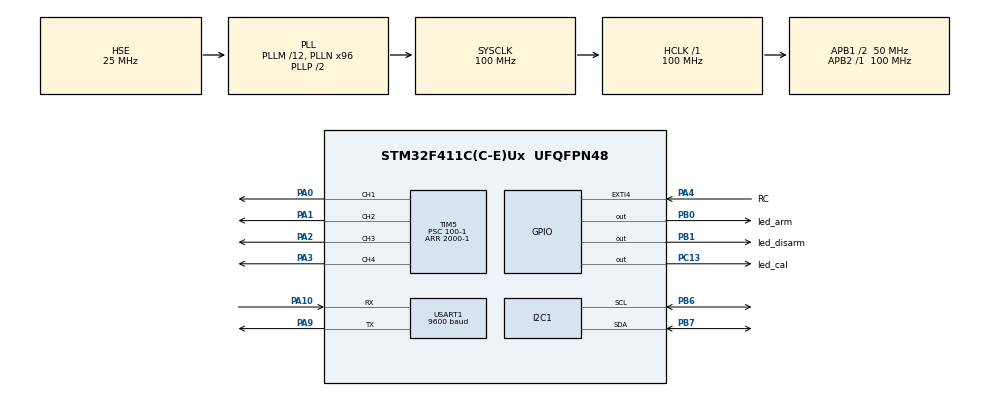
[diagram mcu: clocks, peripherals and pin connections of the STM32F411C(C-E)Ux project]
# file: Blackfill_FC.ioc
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Dma.Request0=USART1_RX
Dma.USART1_RX.0.Direction=DMA_PERIPH_TO_MEMORY
Dma.USART1_RX.0.FIFOMode=DMA_FIFOMODE_DISABLE
Dma.USART1_RX.0.Instance=DMA2_Stream2
Dma.USART1_RX.0.MemDataAlignment=DMA_MDATAALIGN_BYTE
Dma.USART1_RX.0.MemInc=DMA_MINC_ENABLE
Dma.USART1_RX.0.Mode=DMA_CIRCULAR
Dma.USART1_RX.0.PeriphDataAlignment=DMA_PDATAALIGN_BYTE
Dma.USART1_RX.0.PeriphInc=DMA_PINC_DISABLE
Dma.USART1_RX.0.Priority=DMA_PRIORITY_LOW
I2C1.I2C_Mode=I2C_Fast
Mcu.Family=STM32F4
Mcu.Name=STM32F411C(C-E)Ux
Mcu.Package=UFQFPN48
NVIC.DMA2_Stream2_IRQn=true\:0\:0\:false\:false\:true\:false\:true\:true
NVIC.EXTI4_IRQn=true\:0\:0\:false\:false\:true\:true\:true\:true
NVIC.PriorityGroup=NVIC_PRIORITYGROUP_4
NVIC.TIM1_TRG_COM_TIM11_IRQn=true\:0\:0\:false\:false\:true\:true\:true\:true
NVIC.USART1_IRQn=true\:0\:0\:false\:false\:true\:true\:true\:true
PA0-WKUP.Signal=S_TIM5_CH1
PA1.Signal=S_TIM5_CH2
PA10.Mode=Asynchronous
PA10.Signal=USART1_RX
PA13.Mode=Serial_Wire
PA13.Signal=SYS_JTMS-SWDIO
PA14.Mode=Serial_Wire
PA14.Signal=SYS_JTCK-SWCLK
PA2.Signal=S_TIM5_CH3
PA3.Signal=S_TIM5_CH4
PA4.GPIO_Label=RC
PA4.Signal=GPXTI4
PA9.Mode=Asynchronous
PA9.Signal=USART1_TX
PB0.GPIO_Label=led_arm
PB0.Signal=GPIO_Output
PB1.GPIO_Label=led_disarm
PB1.Signal=GPIO_Output
PB6.Mode=I2C
PB6.Signal=I2C1_SCL
PB7.Mode=I2C
PB7.Signal=I2C1_SDA
PC13-ANTI_TAMP.GPIO_Label=led_cal
PC13-ANTI_TAMP.Signal=GPIO_Output
PH0\ -\ OSC_IN.Mode=HSE-External-Oscillator
PH0\ -\ OSC_IN.Signal=RCC_OSC_IN
PH1\ -\ OSC_OUT.Mode=HSE-External-Oscillator
PH1\ -\ OSC_OUT.Signal=RCC_OSC_OUT
ProjectManager.HeapSize=0x200
ProjectManager.StackSize=0x400
ProjectManager.TargetToolchain=STM32CubeIDE
RCC.48MHZClocksFreq_Value=50000000
RCC.AHBFreq_Value=100000000
RCC.APB1CLKDivider=RCC_HCLK_DIV2
RCC.APB1Freq_Value=50000000
RCC.APB1TimFreq_Value=100000000
RCC.APB2Freq_Value=100000000
RCC.APB2TimFreq_Value=100000000
RCC.CortexFreq_Value=100000000
RCC.HCLKFreq_Value=100000000
RCC.HSE_VALUE=25000000
RCC.HSI_VALUE=16000000
RCC.LSE_VALUE=32768
RCC.PLLM=12
RCC.PLLN=96
RCC.PLLSourceVirtual=RCC_PLLSOURCE_HSE
RCC.SYSCLKFreq_VALUE=100000000
RCC.SYSCLKSource=RCC_SYSCLKSOURCE_PLLCLK
RCC.VCOOutputFreq_Value=200000000
SH.S_TIM5_CH1.0=TIM5_CH1,PWM Generation1 CH1
SH.S_TIM5_CH2.0=TIM5_CH2,PWM Generation2 CH2
SH.S_TIM5_CH3.0=TIM5_CH3,PWM Generation3 CH3
SH.S_TIM5_CH4.0=TIM5_CH4,PWM Generation4 CH4
TIM10.Period=0xffff
TIM10.Prescaler=100-1
TIM11.Period=0xffff
TIM11.Prescaler=100-1
TIM5.Channel-PWM\ Generation1\ CH1=TIM_CHANNEL_1
TIM5.Channel-PWM\ Generation2\ CH2=TIM_CHANNEL_2
TIM5.Channel-PWM\ Generation3\ CH3=TIM_CHANNEL_3
TIM5.Channel-PWM\ Generation4\ CH4=TIM_CHANNEL_4
TIM5.Period=2000-1
TIM5.Prescaler=100-1
USART1.BaudRate=9600
USART1.VirtualMode=VM_ASYNC
VP_TIM10_VS_ClockSourceINT.Mode=Enable_Timer
VP_TIM11_VS_ClockSourceINT.Mode=Enable_Timer
VP_TIM5_VS_ClockSourceINT.Mode=Internal
board=custom

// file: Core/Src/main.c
/* USER CODE BEGIN Header */
/**
  ******************************************************************************
  * @file           : main.c
  * @brief          : Main program body
  ******************************cccc************************************************
  * @attention
  *
  * Copyright (c) 2023 STMicroelectronics.
  * All rights reserved.
  *
  * This software is licensed under terms that can be found in the LICENSE file
  * in the root directory of this software component.
  * If no LICENSE file comes with this software, it is provided AS-IS.
  *
  ******************************************************************************
  */
/* USER CODE END Header */
#include "main.h"

/* USER CODE BEGIN Includes */
#include "mpu6050.h"
//#include "bmp280.h"
//#include "HMC5883L.h"
#include "stdbool.h"
#include "math.h"
#include "stdlib.h"
#include "stdio.h"
#include "string.h"
/* USER CODE END Includes */

I2C_HandleTypeDef hi2c1;

TIM_HandleTypeDef htim5;
TIM_HandleTypeDef htim10;
TIM_HandleTypeDef htim11;

UART_HandleTypeDef huart1;
DMA_HandleTypeDef hdma_usart1_rx;

/* USER CODE BEGIN PV */

//BMP280_HandleTypedef bmp280;
/*
float pressure, temperature, humidity, altitude_sea, altitude, altitude_cal;
int32_t pressure_rotating_mem[50], pressure_total_avarage;
uint8_t pressure_rotating_mem_location;
float pressure_rotating_mem_actual;
float actual_pressure, actual_pressure_slow, actual_pressure_fast, actual_pressure_diff;
*/

volatile long ch[8];
volatile long tick;
volatile uint8_t pulse;

int receiver_input_channel_1;
int receiver_input_channel_2;
int receiver_input_channel_3;
int receiver_input_channel_4;
int receiver_input_channel_5;
int receiver_input_channel_6;

int throttle;

float pid_roll_setpoint;
float pid_pitch_setpoint;
float pid_yaw_setpoint;

float pid_p_gain_roll		= 0.4;			//0.4
float pid_i_gain_roll		= 0.0015;			//0.0015
float pid_d_gain_roll		= 0.7;			//0.7

float pid_p_gain_pitch		= 0.4;			//0.4
float pid_i_gain_pitch		= 0.0015;			//0.0015
float pid_d_gain_pitch		= 0.7;			//0.7

float pid_p_gain_yaw		= 2;
float pid_i_gain_yaw		= 0.02;
float pid_d_gain_yaw		= 0;

float pid_i_mem_roll;
float pid_i_mem_pitch;
float pid_i_mem_yaw;

float pid_last_roll_d_error;
float pid_last_pitch_d_eroor;
float pid_last_yaw_d_error;

float pid_error_temp;

float pid_roll_output;
float pid_pitch_output;
float pid_yaw_output;

int pid_max_roll			= 400;
int pid_max_pitch			= 400;
int pid_max_yaw				= 400;

int esc_1 = 1000;
int esc_2= 1000;
int esc_3= 1000;
int esc_4= 1000;

int arm;

int min_throthle = 1070;
int max_throthle = 2000;
int disable_motor = 1000;

int loop_time;

float turning_speed = 3.0;
bool auto_level = true;

/* USER CODE END PV */

void SystemClock_Config(void);
static void MX_GPIO_Init(void);
static void MX_DMA_Init(void);
static void MX_I2C1_Init(void);
static void MX_USART1_UART_Init(void);
static void MX_TIM5_Init(void);
static void MX_TIM11_Init(void);
static void MX_TIM10_Init(void);

int main(void)
{

  /* MCU Configuration--------------------------------------------------------*/

  /* Reset of all peripherals, Initializes the Flash interface and the Systick. */
  HAL_Init();

  /* Configure the system clock */
  SystemClock_Config();

  /* Initialize all configured peripherals */
  MX_GPIO_Init();
  MX_DMA_Init();
  MX_I2C1_Init();
  MX_USART1_UART_Init();
  MX_TIM5_Init();
  MX_TIM11_Init();
  MX_TIM10_Init();
  /* USER CODE BEGIN 2 */
  HAL_Delay(100);
  HAL_TIM_Base_Start(&htim11);
  HAL_TIM_Base_Start(&htim10);

  HAL_TIM_PWM_Start(&htim5, TIM_CHANNEL_1);
  HAL_TIM_PWM_Start(&htim5, TIM_CHANNEL_2);
  HAL_TIM_PWM_Start(&htim5, TIM_CHANNEL_3);
  HAL_TIM_PWM_Start(&htim5, TIM_CHANNEL_4);
  HAL_Delay(100);

  __HAL_TIM_SET_COMPARE(&htim5,TIM_CHANNEL_1,0);
  __HAL_TIM_SET_COMPARE(&htim5,TIM_CHANNEL_2,0);
  __HAL_TIM_SET_COMPARE(&htim5,TIM_CHANNEL_3,0);
  __HAL_TIM_SET_COMPARE(&htim5,TIM_CHANNEL_4,0);

  HAL_Delay(100);
/*
  HMC5883L_setRange (HMC5883L_RANGE_1_3GA);
  HMC5883L_setMeasurementMode (HMC5883L_CONTINOUS);
  HMC5883L_setDataRate (HMC5883L_DATARATE_15HZ);
  HMC5883L_setSamples (HMC5883L_SAMPLES_1);
  HMC5883L_setOffset (0, 0);

  bmp280_init_default_params(&bmp280.params);
  bmp280.addr = BMP280_I2C_ADDRESS_0;
  bmp280.i2c = &hi2c1;
  bmp280_init(&bmp280, &bmp280.params);
*/
  MPU6050_Init();
  HAL_Delay(1000);
  mpu6050_cal();
  HAL_Delay(1000);
  loop_time = __HAL_TIM_GET_COUNTER(&htim10);
  /* USER CODE END 2 */

  /* Infinite loop */
  while (1)
  {

    /* USER CODE BEGIN 3 */
	  //__HAL_TIM_SET_COUNTER(&htim10,0);

	  receiver_input_channel_1 = ch[0];
	  receiver_input_channel_2 = ch[1];
	  receiver_input_channel_3 = ch[2];
	  receiver_input_channel_4 = ch[3];
	  receiver_input_channel_5 = ch[4];
	  receiver_input_channel_6 = ch[5];

	  get_angles();

	  if ( receiver_input_channel_6 > 1550 ){
		  arm = 2;
		  HAL_GPIO_WritePin(led_arm_GPIO_Port, led_arm_Pin, 1);
		  HAL_GPIO_WritePin(led_disarm_GPIO_Port, led_disarm_Pin, 0);

		  pid_i_mem_roll = 0;
		  pid_last_roll_d_error = 0;
		  pid_i_mem_pitch = 0;
		  pid_last_pitch_d_eroor = 0;
		  pid_i_mem_yaw = 0;
		  pid_last_yaw_d_error = 0;
	  }

	  if ( arm == 2 && receiver_input_channel_6 < 1450){
		  arm =0;
		  HAL_GPIO_WritePin(led_arm_GPIO_Port, led_arm_Pin, 0);
		  HAL_GPIO_WritePin(led_disarm_GPIO_Port, led_disarm_Pin, 1);
	  }

	  pid_roll_setpoint =0;
	  if ( receiver_input_channel_1 > 1508 ) {
		  pid_roll_setpoint = (receiver_input_channel_1 - 1508);
	  }
	  else if ( receiver_input_channel_1  < 1492 ){
		  pid_roll_setpoint = ( receiver_input_channel_1  - 1492 );
	  }
	  else{
		  receiver_input_channel_1 = 1500;
	  }

	  pid_roll_setpoint -= roll_level_adjust;
	  pid_roll_setpoint /= turning_speed;

	  pid_pitch_setpoint =0;
	  if ( receiver_input_channel_2 > 1508 ) {
		  pid_pitch_setpoint = ( receiver_input_channel_2 - 1508 );
	  }
	  else if ( receiver_input_channel_2 < 1492 ) {
		  pid_pitch_setpoint = ( receiver_input_channel_2 - 1492 );
	  }
	  else{
	  	receiver_input_channel_2 = 1500;
	  }

	  pid_pitch_setpoint -= pitch_level_adjust;
	  pid_pitch_setpoint /= turning_speed;

	  pid_yaw_setpoint =0;
	  if ( receiver_input_channel_3 > 1050 ){
		  if ( receiver_input_channel_4 > 1508 ) {
			  pid_yaw_setpoint = ( receiver_input_channel_4 - 1508 ) / turning_speed;
		  }
		  else if ( receiver_input_channel_4 < 1492 ){
			  pid_yaw_setpoint = ( receiver_input_channel_4 - 1492 ) / turning_speed;
		  }
	  }
	  else{
	  	  receiver_input_channel_4 = 1500;
	  }

	  pid_error_temp = gyro_roll_input - pid_roll_setpoint;
	  pid_i_mem_roll += pid_i_gain_roll * pid_error_temp;

	  if ( pid_i_mem_roll > pid_max_roll ) pid_i_mem_roll = pid_max_roll;
	  else if ( pid_i_mem_roll < pid_max_roll * -1 ) pid_i_mem_roll = pid_max_roll * -1;

	  pid_roll_output = ( pid_p_gain_roll * pid_error_temp ) + pid_i_mem_roll + ( pid_d_gain_roll * ( pid_error_temp - pid_last_roll_d_error));

	  if ( pid_roll_output > pid_max_roll ) pid_roll_output = pid_max_roll;
	  else if ( pid_roll_output < pid_max_roll * -1) pid_roll_output = pid_max_roll * -1;

	  pid_last_roll_d_error = pid_error_temp;

	  pid_error_temp = gyro_pitch_input - pid_pitch_setpoint;
	  pid_i_mem_pitch += pid_i_gain_pitch * pid_error_temp;

	  if ( pid_i_mem_pitch > pid_max_pitch ) pid_i_mem_pitch = pid_max_pitch;
	  else if ( pid_i_mem_pitch < pid_max_pitch * -1 ) pid_i_mem_pitch = pid_max_pitch * -1;

	  pid_pitch_output = ( pid_p_gain_pitch * pid_error_temp ) + pid_i_mem_pitch + ( pid_d_gain_pitch * ( pid_error_temp - pid_last_pitch_d_eroor));

	  if ( pid_pitch_output > pid_max_pitch ) pid_pitch_output = pid_max_pitch;
	  else if ( pid_pitch_output < pid_max_pitch * -1 ) pid_pitch_output = pid_max_pitch * -1;

	  pid_last_pitch_d_eroor = pid_error_temp;

	  pid_error_temp = gyro_yaw_input - pid_yaw_setpoint;
	  pid_i_mem_yaw += pid_p_gain_yaw * pid_error_temp;

	  if ( pid_i_mem_yaw > pid_max_yaw ) pid_i_mem_yaw = pid_max_yaw;
	  else if ( pid_i_mem_yaw < pid_max_yaw * -1 ) pid_i_mem_yaw = pid_max_yaw * -1;

	  pid_yaw_output = ( pid_p_gain_yaw * pid_error_temp ) + pid_i_mem_yaw + ( pid_d_gain_yaw * ( pid_error_temp - pid_last_yaw_d_error ));

	  if ( pid_yaw_output > pid_max_yaw ) pid_yaw_output = pid_max_yaw;
	  else if ( pid_yaw_output < pid_max_yaw * -1 ) pid_yaw_output = pid_max_yaw * -1;

	  pid_last_yaw_d_error = pid_error_temp;

	  throttle = receiver_input_channel_3;

	  if ( arm == 2 ){
		  if ( throttle > 1800 ) throttle = 1800;

		  esc_1 = throttle - pid_pitch_output + pid_roll_output - pid_yaw_output;
		  esc_2 = throttle + pid_pitch_output + pid_roll_output + pid_yaw_output;
		  esc_3 = throttle + pid_pitch_output - pid_roll_output - pid_yaw_output;
		  esc_4 = throttle - pid_pitch_output - pid_roll_output + pid_yaw_output;

		  if ( esc_1 < min_throthle ) esc_1 = min_throthle;
		  if ( esc_2 < min_throthle ) esc_2 = min_throthle;
		  if ( esc_3 < min_throthle ) esc_3 = min_throthle;
		  if ( esc_4 < min_throthle ) esc_4 = min_throthle;

		  if ( esc_1 > max_throthle ) esc_1 = max_throthle;
		  if ( esc_2 > max_throthle ) esc_2 = max_throthle;
		  if ( esc_3 > max_throthle ) esc_3 = max_throthle;
		  if ( esc_4 > max_throthle ) esc_4 = max_throthle;

	  }
	  else{
		  esc_1 = disable_motor;
		  esc_2 = disable_motor;
		  esc_3 = disable_motor;
		  esc_4 = disable_motor;
	  }

	  __HAL_TIM_SET_COMPARE(&htim5,TIM_CHANNEL_1,esc_1);
	  __HAL_TIM_SET_COMPARE(&htim5,TIM_CHANNEL_2,esc_2);
	  __HAL_TIM_SET_COMPARE(&htim5,TIM_CHANNEL_3,esc_3);
	  __HAL_TIM_SET_COMPARE(&htim5,TIM_CHANNEL_4,esc_4);

	  if(__HAL_TIM_GET_COUNTER(&htim10) - loop_time > 550){
		  //Turn on the LED if the loop time exceeds 550us.
		  HAL_GPIO_WritePin(led_arm_GPIO_Port, led_cal_Pin, 0);
	  }

	  //All the information for controlling the motor's is available.
	  //The refresh rate is 2000Hz. That means the esc's need there pulse every 0.5ms.
	  while(__HAL_TIM_GET_COUNTER(&htim10) - loop_time < 500);                                      //We wait until 500us are passed.
	  loop_time = __HAL_TIM_GET_COUNTER(&htim10);
    /* USER CODE END WHILE */

    /* USER CODE BEGIN 3 */
  }
  /* USER CODE END 3 */
}

void SystemClock_Config(void)
{
  RCC_OscInitTypeDef RCC_OscInitStruct = {0};
  RCC_ClkInitTypeDef RCC_ClkInitStruct = {0};

  /** Configure the main internal regulator output voltage
  */
  __HAL_RCC_PWR_CLK_ENABLE();
  __HAL_PWR_VOLTAGESCALING_CONFIG(PWR_REGULATOR_VOLTAGE_SCALE1);

  /** Initializes the RCC Oscillators according to the specified parameters
  * in the RCC_OscInitTypeDef structure.
  */
  RCC_OscInitStruct.OscillatorType = RCC_OSCILLATORTYPE_HSE;
  RCC_OscInitStruct.HSEState = RCC_HSE_ON;
  RCC_OscInitStruct.PLL.PLLState = RCC_PLL_ON;
  RCC_OscInitStruct.PLL.PLLSource = RCC_PLLSOURCE_HSE;
  RCC_OscInitStruct.PLL.PLLM = 12;
  RCC_OscInitStruct.PLL.PLLN = 96;
  RCC_OscInitStruct.PLL.PLLP = RCC_PLLP_DIV2;
  RCC_OscInitStruct.PLL.PLLQ = 4;
  if (HAL_RCC_OscConfig(&RCC_OscInitStruct) != HAL_OK)
  {
    Error_Handler();
  }

  /** Initializes the CPU, AHB and APB buses clocks
  */
  RCC_ClkInitStruct.ClockType = RCC_CLOCKTYPE_HCLK|RCC_CLOCKTYPE_SYSCLK
                              |RCC_CLOCKTYPE_PCLK1|RCC_CLOCKTYPE_PCLK2;
  RCC_ClkInitStruct.SYSCLKSource = RCC_SYSCLKSOURCE_PLLCLK;
  RCC_ClkInitStruct.AHBCLKDivider = RCC_SYSCLK_DIV1;
  RCC_ClkInitStruct.APB1CLKDivider = RCC_HCLK_DIV2;
  RCC_ClkInitStruct.APB2CLKDivider = RCC_HCLK_DIV1;

  if (HAL_RCC_ClockConfig(&RCC_ClkInitStruct, FLASH_LATENCY_3) != HAL_OK)
  {
    Error_Handler();
  }
}

static void MX_I2C1_Init(void)
{

  hi2c1.Instance = I2C1;
  hi2c1.Init.ClockSpeed = 400000;
  hi2c1.Init.DutyCycle = I2C_DUTYCYCLE_2;
  hi2c1.Init.OwnAddress1 = 0;
  hi2c1.Init.AddressingMode = I2C_ADDRESSINGMODE_7BIT;
  hi2c1.Init.DualAddressMode = I2C_DUALADDRESS_DISABLE;
  hi2c1.Init.OwnAddress2 = 0;
  hi2c1.Init.GeneralCallMode = I2C_GENERALCALL_DISABLE;
  hi2c1.Init.NoStretchMode = I2C_NOSTRETCH_DISABLE;
  if (HAL_I2C_Init(&hi2c1) != HAL_OK)
  {
    Error_Handler();
  }

}

static void MX_TIM5_Init(void)
{

  TIM_ClockConfigTypeDef sClockSourceConfig = {0};
  TIM_MasterConfigTypeDef sMasterConfig = {0};
  TIM_OC_InitTypeDef sConfigOC = {0};

  htim5.Instance = TIM5;
  htim5.Init.Prescaler = 100-1;
  htim5.Init.CounterMode = TIM_COUNTERMODE_UP;
  htim5.Init.Period = 2000-1;
  htim5.Init.ClockDivision = TIM_CLOCKDIVISION_DIV1;
  htim5.Init.AutoReloadPreload = TIM_AUTORELOAD_PRELOAD_DISABLE;
  if (HAL_TIM_Base_Init(&htim5) != HAL_OK)
  {
    Error_Handler();
  }
  sClockSourceConfig.ClockSource = TIM_CLOCKSOURCE_INTERNAL;
  if (HAL_TIM_ConfigClockSource(&htim5, &sClockSourceConfig) != HAL_OK)
  {
    Error_Handler();
  }
  if (HAL_TIM_PWM_Init(&htim5) != HAL_OK)
  {
    Error_Handler();
  }
  sMasterConfig.MasterOutputTrigger = TIM_TRGO_RESET;
  sMasterConfig.MasterSlaveMode = TIM_MASTERSLAVEMODE_DISABLE;
  if (HAL_TIMEx_MasterConfigSynchronization(&htim5, &sMasterConfig) != HAL_OK)
  {
    Error_Handler();
  }
  sConfigOC.OCMode = TIM_OCMODE_PWM1;
  sConfigOC.Pulse = 0;
  sConfigOC.OCPolarity = TIM_OCPOLARITY_HIGH;
  sConfigOC.OCFastMode = TIM_OCFAST_DISABLE;
  if (HAL_TIM_PWM_ConfigChannel(&htim5, &sConfigOC, TIM_CHANNEL_1) != HAL_OK)
  {
    Error_Handler();
  }
  if (HAL_TIM_PWM_ConfigChannel(&htim5, &sConfigOC, TIM_CHANNEL_2) != HAL_OK)
  {
    Error_Handler();
  }
  if (HAL_TIM_PWM_ConfigChannel(&htim5, &sConfigOC, TIM_CHANNEL_3) != HAL_OK)
  {
    Error_Handler();
  }
  if (HAL_TIM_PWM_ConfigChannel(&htim5, &sConfigOC, TIM_CHANNEL_4) != HAL_OK)
  {
    Error_Handler();
  }
  HAL_TIM_MspPostInit(&htim5);

}

static void MX_TIM10_Init(void)
{

  htim10.Instance = TIM10;
  htim10.Init.Prescaler = 100-1;
  htim10.Init.CounterMode = TIM_COUNTERMODE_UP;
  htim10.Init.Period = 0xffff;
  htim10.Init.ClockDivision = TIM_CLOCKDIVISION_DIV1;
  htim10.Init.AutoReloadPreload = TIM_AUTORELOAD_PRELOAD_DISABLE;
  if (HAL_TIM_Base_Init(&htim10) != HAL_OK)
  {
    Error_Handler();
  }

}

static void MX_TIM11_Init(void)
{

  htim11.Instance = TIM11;
  htim11.Init.Prescaler = 100-1;
  htim11.Init.CounterMode = TIM_COUNTERMODE_UP;
  htim11.Init.Period = 0xffff;
  htim11.Init.ClockDivision = TIM_CLOCKDIVISION_DIV1;
  htim11.Init.AutoReloadPreload = TIM_AUTORELOAD_PRELOAD_DISABLE;
  if (HAL_TIM_Base_Init(&htim11) != HAL_OK)
  {
    Error_Handler();
  }

}

static void MX_USART1_UART_Init(void)
{

  huart1.Instance = USART1;
  huart1.Init.BaudRate = 9600;
  huart1.Init.WordLength = UART_WORDLENGTH_8B;
  huart1.Init.StopBits = UART_STOPBITS_1;
  huart1.Init.Parity = UART_PARITY_NONE;
  huart1.Init.Mode = UART_MODE_TX_RX;
  huart1.Init.HwFlowCtl = UART_HWCONTROL_NONE;
  huart1.Init.OverSampling = UART_OVERSAMPLING_16;
  if (HAL_UART_Init(&huart1) != HAL_OK)
  {
    Error_Handler();
  }

}

static void MX_DMA_Init(void)
{

  /* DMA controller clock enable */
  __HAL_RCC_DMA2_CLK_ENABLE();

  /* DMA interrupt init */
  /* DMA2_Stream2_IRQn interrupt configuration */
  HAL_NVIC_SetPriority(DMA2_Stream2_IRQn, 0, 0);
  HAL_NVIC_EnableIRQ(DMA2_Stream2_IRQn);

}

static void MX_GPIO_Init(void)
{
  GPIO_InitTypeDef GPIO_InitStruct = {0};

  /* GPIO Ports Clock Enable */
  __HAL_RCC_GPIOC_CLK_ENABLE();
  __HAL_RCC_GPIOH_CLK_ENABLE();
  __HAL_RCC_GPIOA_CLK_ENABLE();
  __HAL_RCC_GPIOB_CLK_ENABLE();

  /*Configure GPIO pin Output Level */
  HAL_GPIO_WritePin(led_cal_GPIO_Port, led_cal_Pin, GPIO_PIN_RESET);

  /*Configure GPIO pin Output Level */
  HAL_GPIO_WritePin(GPIOB, led_arm_Pin|led_disarm_Pin, GPIO_PIN_RESET);

  /*Configure GPIO pin : led_cal_Pin */
  GPIO_InitStruct.Pin = led_cal_Pin;
  GPIO_InitStruct.Mode = GPIO_MODE_OUTPUT_PP;
  GPIO_InitStruct.Pull = GPIO_NOPULL;
  GPIO_InitStruct.Speed = GPIO_SPEED_FREQ_LOW;
  HAL_GPIO_Init(led_cal_GPIO_Port, &GPIO_InitStruct);

  /*Configure GPIO pin : RC_Pin */
  GPIO_InitStruct.Pin = RC_Pin;
  GPIO_InitStruct.Mode = GPIO_MODE_IT_RISING;
  GPIO_InitStruct.Pull = GPIO_NOPULL;
  HAL_GPIO_Init(RC_GPIO_Port, &GPIO_InitStruct);

  /*Configure GPIO pins : led_arm_Pin led_disarm_Pin */
  GPIO_InitStruct.Pin = led_arm_Pin|led_disarm_Pin;
  GPIO_InitStruct.Mode = GPIO_MODE_OUTPUT_PP;
  GPIO_InitStruct.Pull = GPIO_NOPULL;
  GPIO_InitStruct.Speed = GPIO_SPEED_FREQ_LOW;
  HAL_GPIO_Init(GPIOB, &GPIO_InitStruct);

  /* EXTI interrupt init*/
  HAL_NVIC_SetPriority(EXTI4_IRQn, 0, 0);
  HAL_NVIC_EnableIRQ(EXTI4_IRQn);

}

/* USER CODE BEGIN 4 */
void HAL_GPIO_EXTI_Callback(uint16_t GPIO_Pin){

	if ( GPIO_Pin == RC_Pin){
		tick = __HAL_TIM_GET_COUNTER(&htim11);
		__HAL_TIM_SET_COUNTER(&htim11,0);

		if ( tick < 2100){
			ch[pulse] = tick;
			pulse++;
		}
		else{
			__HAL_TIM_SET_COUNTER(&htim11,0);
			pulse =0;
		}

	}

}

/* USER CODE END 4 */

void Error_Handler(void)
{
  __disable_irq();
  while (1)
  {
  }
}
